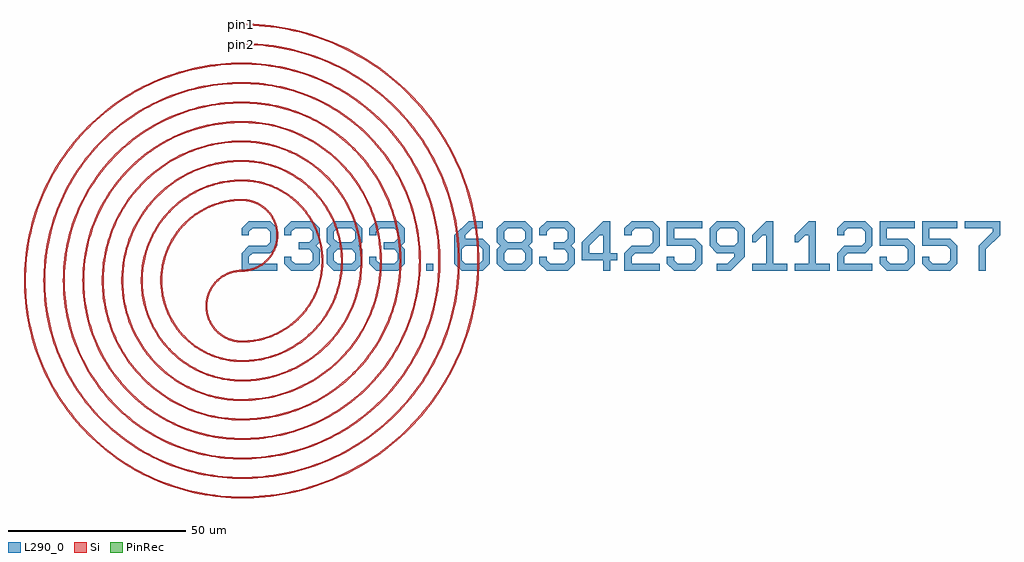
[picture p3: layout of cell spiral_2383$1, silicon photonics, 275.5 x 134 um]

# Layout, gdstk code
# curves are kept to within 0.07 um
import gdstk
lib = gdstk.Library(unit=1e-6, precision=1e-09)
def R(c, l, rs):  # rectangles x0, y0, x1, y1
    for r in rs: c.add(gdstk.rectangle(r[:2], r[2:], *l))
def P(c, l, *ps):  # polygons
    for p in ps: c.add(gdstk.Polygon(p, *l))
Si = (1, 0)
PinRec = (1, 10)
L290_0 = (290, 0)

spiral_2383_1 = lib.new_cell('spiral_2383$1')
P(spiral_2383_1, Si, [(0,-0.25),(0,0.25),(1.194,0.323),(2.369,0.542),(3.509,0.903),(4.384,1.291),(5.808,2.169),(7.061,3.277),(8.237,4.784),(9.097,6.491),(9.563,8.098),(9.75,10),(9.563,11.902),(9.097,13.509),(8.237,15.216),(7.061,16.723),(5.808,17.831),(4.384,18.709),(3.509,19.097),(2.369,19.458),(1.194,19.677),(0,19.75),(0,20.25),(1.005,20.201),(2,20.053),(2.975,19.809),(3.923,19.47),(5.695,18.523),(7.248,17.248),(8.523,15.695),(9.47,13.923),(9.809,12.975),(10.053,12),(10.201,11.005),(10.25,10),(10.201,8.995),(10.053,8),(9.809,7.025),(9.47,6.077),(8.523,4.305),(7.248,2.752),(5.695,1.477),(3.923,0.53),(2.975,0.191),(2,-0.053),(1.005,-0.201)],
  [(0,-20.25),(-1.005,-20.201),(-2,-20.053),(-3.923,-19.47),(-5.695,-18.523),(-7.248,-17.248),(-8.523,-15.695),(-9.47,-13.923),(-10.053,-12),(-10.201,-11.005),(-10.25,-10),(-10.201,-8.995),(-10.001,-7.754),(-9.371,-5.846),(-8.792,-4.73),(-8.233,-3.894),(-7.424,-2.932),(-6.695,-2.239),(-5.052,-1.082),(-4.154,-0.629),(-3.215,-0.267),(-1.504,0.139),(0.956,0.297),(2.136,0.487),(3.509,0.903),(4.806,1.517),(6.185,2.463),(7.537,3.815),(8.599,5.404),(9.258,6.942),(9.563,8.098),(9.724,9.283),(9.747,10.239),(9.644,11.431),(9.458,12.369),(9.097,13.509),(8.599,14.596),(7.971,15.614),(7.224,16.548),(6.548,17.224),(5.013,18.363),(3.951,18.914),(2.6,19.397),(1.194,19.677),(0,19.75),(0,20.25),(1.005,20.201),(2,20.053),(3.923,19.47),(5.695,18.523),(7.248,17.248),(8.523,15.695),(9.47,13.923),(10.053,12),(10.201,11.005),(10.25,10),(10.201,8.995),(10.001,7.754),(9.371,5.846),(8.792,4.73),(8.233,3.894),(7.424,2.932),(6.695,2.239),(5.052,1.082),(4.154,0.629),(3.215,0.267),(1.504,-0.139),(-0.956,-0.297),(-2.136,-0.487),(-3.509,-0.903),(-4.806,-1.517),(-6.185,-2.463),(-7.537,-3.815),(-8.599,-5.404),(-9.258,-6.942),(-9.563,-8.098),(-9.724,-9.283),(-9.747,-10.239),(-9.644,-11.431),(-9.458,-12.369),(-9.097,-13.509),(-8.599,-14.596),(-7.971,-15.614),(-7.224,-16.548),(-6.548,-17.224),(-5.013,-18.363),(-3.951,-18.914),(-2.6,-19.397),(-1.194,-19.677),(0,-19.75)],
  [(0,-20.25),(0,-19.75),(2.205,-19.642),(4.39,-19.318),(6.531,-18.781),(9.118,-17.82),(11.09,-16.827),(12.956,-15.646),(14.274,-14.643),(15.91,-13.16),(17.393,-11.524),(18.708,-9.75),(19.843,-7.856),(20.787,-5.86),(21.531,-3.781),(22.068,-1.64),(22.392,0.545),(22.5,2.75),(22.392,4.955),(22.068,7.14),(21.531,9.281),(20.787,11.36),(19.843,13.356),(18.708,15.25),(17.393,17.024),(15.91,18.66),(14.274,20.143),(12.956,21.146),(11.09,22.327),(9.118,23.32),(6.531,24.281),(4.39,24.818),(2.205,25.142),(0,25.25),(0,25.75),(2.254,25.639),(4.487,25.308),(6.677,24.76),(8.802,23.999),(10.842,23.034),(12.778,21.874),(14.591,20.529),(16.263,19.013),(17.779,17.341),(19.124,15.528),(20.284,13.592),(21.249,11.552),(22.01,9.427),(22.558,7.237),(22.889,5.004),(23,2.75),(22.889,0.496),(22.558,-1.737),(22.01,-3.927),(21.249,-6.052),(20.284,-8.092),(19.124,-10.028),(17.779,-11.841),(16.263,-13.513),(14.591,-15.029),(12.778,-16.374),(10.842,-17.534),(8.802,-18.499),(6.677,-19.26),(4.487,-19.808),(2.254,-20.139)],
  [(0,-25.75),(-2.254,-25.639),(-4.487,-25.308),(-6.677,-24.76),(-8.802,-23.999),(-10.842,-23.034),(-12.778,-21.874),(-14.591,-20.529),(-16.263,-19.013),(-17.779,-17.341),(-19.124,-15.528),(-20.284,-13.592),(-21.249,-11.552),(-22.01,-9.427),(-22.558,-7.237),(-22.889,-5.004),(-23,-2.75),(-22.889,-0.496),(-22.558,1.737),(-22.01,3.927),(-21.249,6.052),(-20.284,8.092),(-19.124,10.028),(-17.779,11.841),(-16.263,13.513),(-14.591,15.029),(-12.778,16.374),(-10.842,17.534),(-8.802,18.499),(-6.677,19.26),(-4.487,19.808),(-2.254,20.139),(0,20.25),(0,19.75),(-2.205,19.642),(-4.39,19.318),(-6.531,18.781),(-9.118,17.82),(-11.09,16.827),(-12.956,15.646),(-14.274,14.643),(-15.91,13.16),(-17.393,11.524),(-18.708,9.75),(-19.843,7.856),(-20.787,5.86),(-21.531,3.781),(-22.068,1.64),(-22.392,-0.545),(-22.5,-2.75),(-22.392,-4.955),(-22.068,-7.14),(-21.531,-9.281),(-20.787,-11.36),(-19.843,-13.356),(-18.708,-15.25),(-17.393,-17.024),(-15.91,-18.66),(-14.274,-20.143),(-12.956,-21.146),(-11.09,-22.327),(-9.118,-23.32),(-6.531,-24.281),(-4.39,-24.818),(-2.205,-25.142),(0,-25.25)],
  [(0,-25.75),(0,-25.25),(2.744,-25.115),(4.787,-24.838),(6.135,-24.57),(8.783,-23.837),(11.347,-22.848),(13.801,-21.612),(16.123,-20.142),(18.289,-18.452),(19.799,-17.049),(21.644,-15.013),(23.281,-12.806),(24.694,-10.449),(25.869,-7.965),(26.794,-5.378),(27.462,-2.713),(27.865,0.006),(28,2.75),(27.865,5.494),(27.462,8.213),(26.794,10.878),(25.869,13.465),(24.694,15.949),(23.281,18.306),(21.644,20.513),(19.799,22.549),(18.289,23.952),(16.123,25.642),(13.801,27.112),(11.347,28.348),(8.783,29.337),(6.135,30.07),(4.787,30.338),(2.744,30.615),(0,30.75),(0,31.25),(2.793,31.113),(5.56,30.702),(8.273,30.023),(10.906,29.081),(13.435,27.885),(15.834,26.447),(18.08,24.781),(20.153,22.903),(22.031,20.83),(23.697,18.584),(25.135,16.185),(26.331,13.656),(27.273,11.023),(27.952,8.31),(28.363,5.543),(28.5,2.75),(28.363,-0.043),(27.952,-2.81),(27.273,-5.523),(26.331,-8.156),(25.135,-10.685),(23.697,-13.084),(22.031,-15.33),(20.153,-17.403),(18.08,-19.281),(15.834,-20.947),(13.435,-22.385),(10.906,-23.581),(8.273,-24.523),(5.56,-25.202),(2.793,-25.613)],
  [(0,-31.25),(-2.793,-31.113),(-5.56,-30.702),(-8.273,-30.023),(-10.906,-29.081),(-13.435,-27.885),(-15.834,-26.447),(-18.08,-24.781),(-20.153,-22.903),(-22.031,-20.83),(-23.697,-18.584),(-25.135,-16.185),(-26.331,-13.656),(-27.273,-11.023),(-27.952,-8.31),(-28.363,-5.543),(-28.5,-2.75),(-28.363,0.043),(-27.952,2.81),(-27.273,5.523),(-26.331,8.156),(-25.135,10.685),(-23.697,13.084),(-22.031,15.33),(-20.153,17.403),(-18.08,19.281),(-15.834,20.947),(-13.435,22.385),(-10.906,23.581),(-8.273,24.523),(-5.56,25.202),(-2.793,25.613),(0,25.75),(0,25.25),(-2.744,25.115),(-4.787,24.838),(-6.135,24.57),(-8.783,23.837),(-11.347,22.848),(-13.801,21.612),(-16.123,20.142),(-18.289,18.452),(-19.799,17.049),(-21.644,15.013),(-23.281,12.806),(-24.694,10.449),(-25.869,7.965),(-26.794,5.378),(-27.462,2.713),(-27.865,-0.006),(-28,-2.75),(-27.865,-5.494),(-27.462,-8.213),(-26.794,-10.878),(-25.869,-13.465),(-24.694,-15.949),(-23.281,-18.306),(-21.644,-20.513),(-19.799,-22.549),(-18.289,-23.952),(-16.123,-25.642),(-13.801,-27.112),(-11.347,-28.348),(-8.783,-29.337),(-6.135,-30.07),(-4.787,-30.338),(-2.744,-30.615),(0,-30.75)],
  [(0,-31.25),(0,-30.75),(1.644,-30.71),(4.101,-30.498),(5.727,-30.257),(8.14,-29.746),(11.286,-28.792),(13.576,-27.876),(16.512,-26.398),(19.29,-24.639),(21.252,-23.146),(23.688,-20.938),(25.896,-18.502),(27.854,-15.862),(29.544,-13.042),(30.95,-10.07),(32.058,-6.975),(32.856,-3.786),(33.339,-0.534),(33.5,2.75),(33.339,6.034),(32.856,9.286),(32.058,12.475),(30.95,15.57),(29.544,18.542),(27.854,21.362),(25.896,24.002),(23.688,26.438),(21.252,28.646),(19.29,30.139),(16.512,31.898),(13.576,33.376),(11.286,34.292),(8.14,35.246),(5.727,35.757),(4.101,35.998),(1.644,36.21),(0,36.25),(0,36.75),(3.333,36.586),(6.633,36.097),(9.87,35.286),(13.011,34.162),(16.027,32.735),(18.889,31.02),(21.569,29.032),(24.042,26.792),(26.282,24.319),(28.27,21.639),(29.985,18.777),(31.412,15.761),(32.536,12.62),(33.347,9.383),(33.836,6.083),(34,2.75),(33.836,-0.583),(33.347,-3.883),(32.536,-7.12),(31.412,-10.261),(29.985,-13.277),(28.27,-16.139),(26.282,-18.819),(24.042,-21.292),(21.569,-23.532),(18.889,-25.52),(16.027,-27.235),(13.011,-28.662),(9.87,-29.786),(6.633,-30.597),(3.333,-31.086)],
  [(0,-36.75),(-3.333,-36.586),(-6.633,-36.097),(-9.87,-35.286),(-13.011,-34.162),(-16.027,-32.735),(-18.889,-31.02),(-21.569,-29.032),(-24.042,-26.792),(-26.282,-24.319),(-28.27,-21.639),(-29.985,-18.777),(-31.412,-15.761),(-32.536,-12.62),(-33.347,-9.383),(-33.836,-6.083),(-34,-2.75),(-33.836,0.583),(-33.347,3.883),(-32.536,7.12),(-31.412,10.261),(-29.985,13.277),(-28.27,16.139),(-26.282,18.819),(-24.042,21.292),(-21.569,23.532),(-18.889,25.52),(-16.027,27.235),(-13.011,28.662),(-9.87,29.786),(-6.633,30.597),(-3.333,31.086),(0,31.25),(0,30.75),(-1.644,30.71),(-4.101,30.498),(-5.727,30.257),(-8.14,29.746),(-11.286,28.792),(-13.576,27.876),(-16.512,26.398),(-19.29,24.639),(-21.252,23.146),(-23.688,20.938),(-25.896,18.502),(-27.854,15.862),(-29.544,13.042),(-30.95,10.07),(-32.058,6.975),(-32.856,3.786),(-33.339,0.534),(-33.5,-2.75),(-33.339,-6.034),(-32.856,-9.286),(-32.058,-12.475),(-30.95,-15.57),(-29.544,-18.542),(-27.854,-21.362),(-25.896,-24.002),(-23.688,-26.438),(-21.252,-28.646),(-19.29,-30.139),(-16.512,-31.898),(-13.576,-33.376),(-11.286,-34.292),(-8.14,-35.246),(-5.727,-35.757),(-4.101,-35.998),(-1.644,-36.21),(0,-36.25)],
  [(0,-36.75),(0,-36.25),(1.914,-36.203),(4.774,-35.957),(7.609,-35.501),(9.476,-35.081),(12.234,-34.282),(15.804,-32.904),(19.223,-31.183),(22.457,-29.136),(25.474,-26.781),(27.577,-24.827),(30.147,-21.991),(32.427,-18.917),(34.395,-15.634),(36.031,-12.175),(37.321,-8.571),(38.251,-4.859),(38.812,-1.073),(39,2.75),(38.812,6.573),(38.251,10.359),(37.321,14.071),(36.031,17.675),(34.395,21.134),(32.427,24.417),(30.147,27.491),(27.577,30.327),(25.474,32.281),(22.457,34.636),(19.223,36.683),(15.804,38.404),(12.234,39.782),(9.476,40.581),(7.609,41.001),(4.774,41.457),(1.914,41.703),(0,41.75),(0,42.25),(3.872,42.06),(7.706,41.491),(11.466,40.549),(15.116,39.243),(18.62,37.586),(21.945,35.593),(25.059,33.284),(27.931,30.681),(30.534,27.809),(32.843,24.695),(34.836,21.37),(36.493,17.866),(37.799,14.216),(38.741,10.456),(39.31,6.622),(39.5,2.75),(39.31,-1.122),(38.741,-4.956),(37.799,-8.716),(36.493,-12.366),(34.836,-15.87),(32.843,-19.195),(30.534,-22.309),(27.931,-25.181),(25.059,-27.784),(21.945,-30.093),(18.62,-32.086),(15.116,-33.743),(11.466,-35.049),(7.706,-35.991),(3.872,-36.56)],
  [(0,-42.25),(-3.872,-42.06),(-7.706,-41.491),(-11.466,-40.549),(-15.116,-39.243),(-18.62,-37.586),(-21.945,-35.593),(-25.059,-33.284),(-27.931,-30.681),(-30.534,-27.809),(-32.843,-24.695),(-34.836,-21.37),(-36.493,-17.866),(-37.799,-14.216),(-38.741,-10.456),(-39.31,-6.622),(-39.5,-2.75),(-39.31,1.122),(-38.741,4.956),(-37.799,8.716),(-36.493,12.366),(-34.836,15.87),(-32.843,19.195),(-30.534,22.309),(-27.931,25.181),(-25.059,27.784),(-21.945,30.093),(-18.62,32.086),(-15.116,33.743),(-11.466,35.049),(-7.706,35.991),(-3.872,36.56),(0,36.75),(0,36.25),(-1.914,36.203),(-4.774,35.957),(-7.609,35.501),(-9.476,35.081),(-12.234,34.282),(-15.804,32.904),(-19.223,31.183),(-22.457,29.136),(-25.474,26.781),(-27.577,24.827),(-30.147,21.991),(-32.427,18.917),(-34.395,15.634),(-36.031,12.175),(-37.321,8.571),(-38.251,4.859),(-38.812,1.073),(-39,-2.75),(-38.812,-6.573),(-38.251,-10.359),(-37.321,-14.071),(-36.031,-17.675),(-34.395,-21.134),(-32.427,-24.417),(-30.147,-27.491),(-27.577,-30.327),(-25.474,-32.281),(-22.457,-34.636),(-19.223,-36.683),(-15.804,-38.404),(-12.234,-39.782),(-9.476,-40.581),(-7.609,-41.001),(-4.774,-41.457),(-1.914,-41.703),(0,-41.75)],
  [(0,-42.25),(0,-41.75),(3.274,-41.629),(5.447,-41.415),(7.608,-41.095),(10.813,-40.416),(12.918,-39.834),(14.992,-39.149),(18.033,-37.932),(20.008,-36.998),(21.934,-35.969),(23.807,-34.846),(25.623,-33.633),(28.231,-31.649),(29.884,-30.222),(31.466,-28.716),(32.972,-27.134),(34.399,-25.481),(35.743,-23.759),(37,-21.973),(38.169,-20.128),(39.245,-18.227),(40.228,-16.276),(41.113,-14.279),(41.899,-12.242),(42.584,-10.168),(43.166,-8.063),(43.645,-5.932),(44.018,-3.78),(44.286,-1.612),(44.446,0.566),(44.5,2.75),(44.446,4.934),(44.286,7.112),(44.018,9.28),(43.645,11.432),(43.166,13.563),(42.584,15.668),(41.899,17.742),(41.113,19.779),(40.228,21.776),(39.245,23.727),(38.169,25.628),(37,27.473),(35.743,29.259),(34.399,30.981),(32.972,32.634),(31.466,34.216),(29.884,35.722),(28.231,37.149),(25.623,39.133),(23.807,40.346),(21.934,41.469),(20.008,42.498),(18.033,43.432),(14.992,44.649),(12.918,45.334),(10.813,45.916),(7.608,46.595),(5.447,46.915),(3.274,47.129),(0,47.25),(0,47.75),(2.208,47.696),(4.411,47.533),(6.603,47.263),(8.779,46.885),(10.934,46.401),(13.063,45.812),(15.16,45.119),(17.221,44.325),(19.24,43.43),(21.213,42.436),(23.135,41.348),(25.001,40.166),(26.806,38.894),(28.548,37.535),(30.22,36.093),(31.82,34.57),(33.343,32.97),(34.785,31.298),(36.144,29.556),(37.416,27.751),(38.598,25.885),(39.686,23.963),(40.68,21.99),(41.575,19.971),(42.369,17.91),(43.062,15.813),(43.651,13.684),(44.135,11.529),(44.513,9.353),(44.783,7.161),(44.946,4.958),(45,2.75),(44.946,0.542),(44.783,-1.661),(44.513,-3.853),(44.135,-6.029),(43.651,-8.184),(43.062,-10.313),(42.369,-12.41),(41.575,-14.471),(40.68,-16.49),(39.686,-18.463),(38.598,-20.385),(37.416,-22.251),(36.144,-24.056),(34.785,-25.798),(33.343,-27.47),(31.82,-29.07),(30.22,-30.593),(28.548,-32.035),(26.806,-33.394),(25.001,-34.666),(23.135,-35.848),(21.213,-36.936),(19.24,-37.93),(17.221,-38.825),(15.16,-39.619),(13.063,-40.312),(10.934,-40.901),(8.779,-41.385),(6.603,-41.763),(4.411,-42.033),(2.208,-42.196)],
  [(0,-47.75),(-2.208,-47.696),(-4.411,-47.533),(-6.603,-47.263),(-8.779,-46.885),(-10.934,-46.401),(-13.063,-45.812),(-15.16,-45.119),(-17.221,-44.325),(-19.24,-43.43),(-21.213,-42.436),(-23.135,-41.348),(-25.001,-40.166),(-26.806,-38.894),(-28.548,-37.535),(-30.22,-36.093),(-31.82,-34.57),(-33.343,-32.97),(-34.785,-31.298),(-36.144,-29.556),(-37.416,-27.751),(-38.598,-25.885),(-39.686,-23.963),(-40.68,-21.99),(-41.575,-19.971),(-42.369,-17.91),(-43.062,-15.813),(-43.651,-13.684),(-44.135,-11.529),(-44.513,-9.353),(-44.783,-7.161),(-44.946,-4.958),(-45,-2.75),(-44.946,-0.542),(-44.783,1.661),(-44.513,3.853),(-44.135,6.029),(-43.651,8.184),(-43.062,10.313),(-42.369,12.41),(-41.575,14.471),(-40.68,16.49),(-39.686,18.463),(-38.598,20.385),(-37.416,22.251),(-36.144,24.056),(-34.785,25.798),(-33.343,27.47),(-31.82,29.07),(-30.22,30.593),(-28.548,32.035),(-26.806,33.394),(-25.001,34.666),(-23.135,35.848),(-21.213,36.936),(-19.24,37.93),(-17.221,38.825),(-15.16,39.619),(-13.063,40.312),(-10.934,40.901),(-8.779,41.385),(-6.603,41.763),(-4.411,42.033),(-2.208,42.196),(0,42.25),(0,41.75),(-3.274,41.629),(-5.447,41.415),(-7.608,41.095),(-10.813,40.416),(-12.918,39.834),(-14.992,39.149),(-18.033,37.932),(-20.008,36.998),(-21.934,35.969),(-23.807,34.846),(-25.623,33.633),(-28.231,31.649),(-29.884,30.222),(-31.466,28.716),(-32.972,27.134),(-34.399,25.481),(-35.743,23.759),(-37,21.973),(-38.169,20.128),(-39.245,18.227),(-40.228,16.276),(-41.113,14.279),(-41.899,12.242),(-42.584,10.168),(-43.166,8.063),(-43.645,5.932),(-44.018,3.78),(-44.286,1.612),(-44.446,-0.566),(-44.5,-2.75),(-44.446,-4.934),(-44.286,-7.112),(-44.018,-9.28),(-43.645,-11.432),(-43.166,-13.563),(-42.584,-15.668),(-41.899,-17.742),(-41.113,-19.779),(-40.228,-21.776),(-39.245,-23.727),(-38.169,-25.628),(-37,-27.473),(-35.743,-29.259),(-34.399,-30.981),(-32.972,-32.634),(-31.466,-34.216),(-29.884,-35.722),(-28.231,-37.149),(-25.623,-39.133),(-23.807,-40.346),(-21.934,-41.469),(-20.008,-42.498),(-18.033,-43.432),(-14.992,-44.649),(-12.918,-45.334),(-10.813,-45.916),(-7.608,-46.595),(-5.447,-46.915),(-3.274,-47.129),(0,-47.25)],
  [(0,-47.75),(0,-47.25),(3.678,-47.115),(6.121,-46.874),(8.548,-46.514),(10.955,-46.035),(14.514,-45.097),(16.844,-44.327),(19.134,-43.444),(21.378,-42.449),(23.57,-41.346),(25.705,-40.136),(27.779,-38.823),(29.785,-37.41),(31.72,-35.901),(33.578,-34.298),(35.355,-32.605),(37.048,-30.828),(38.651,-28.97),(40.16,-27.035),(41.573,-25.029),(42.886,-22.955),(44.096,-20.82),(45.199,-18.628),(46.194,-16.384),(47.077,-14.094),(47.847,-11.764),(48.502,-9.399),(49.039,-7.005),(49.459,-4.587),(49.759,-2.151),(49.94,0.297),(50,2.75),(49.94,5.203),(49.759,7.651),(49.459,10.087),(49.039,12.505),(48.502,14.899),(47.847,17.264),(47.077,19.594),(46.194,21.884),(45.199,24.128),(44.096,26.32),(42.886,28.455),(41.573,30.529),(40.16,32.535),(38.651,34.47),(37.048,36.328),(35.355,38.105),(33.578,39.798),(31.72,41.401),(29.785,42.91),(27.779,44.323),(25.705,45.636),(23.57,46.846),(21.378,47.949),(19.134,48.944),(16.844,49.827),(14.514,50.597),(10.955,51.535),(8.548,52.014),(6.121,52.374),(3.678,52.615),(0,52.75),(0,53.25),(2.478,53.189),(4.95,53.007),(7.41,52.703),(9.852,52.28),(12.27,51.737),(14.659,51.075),(17.013,50.298),(19.326,49.406),(21.592,48.401),(23.806,47.287),(25.962,46.065),(28.056,44.739),(30.083,43.312),(32.037,41.787),(33.914,40.168),(35.709,38.459),(37.418,36.664),(39.037,34.787),(40.562,32.833),(41.989,30.806),(43.315,28.712),(44.537,26.556),(45.651,24.342),(46.656,22.076),(47.548,19.763),(48.325,17.409),(48.987,15.02),(49.53,12.602),(49.953,10.16),(50.257,7.7),(50.439,5.228),(50.5,2.75),(50.439,0.272),(50.257,-2.2),(49.953,-4.66),(49.53,-7.102),(48.987,-9.52),(48.325,-11.909),(47.548,-14.263),(46.656,-16.576),(45.651,-18.842),(44.537,-21.056),(43.315,-23.212),(41.989,-25.306),(40.562,-27.333),(39.037,-29.287),(37.418,-31.164),(35.709,-32.959),(33.914,-34.668),(32.037,-36.287),(30.083,-37.812),(28.056,-39.239),(25.962,-40.565),(23.806,-41.787),(21.592,-42.901),(19.326,-43.906),(17.013,-44.798),(14.659,-45.575),(12.27,-46.237),(9.852,-46.78),(7.41,-47.203),(4.95,-47.507),(2.478,-47.689)],
  [(0,-53.25),(-2.478,-53.189),(-4.95,-53.007),(-7.41,-52.703),(-9.852,-52.28),(-12.27,-51.737),(-14.659,-51.075),(-17.013,-50.298),(-19.326,-49.406),(-21.592,-48.401),(-23.806,-47.287),(-25.962,-46.065),(-28.056,-44.739),(-30.083,-43.312),(-32.037,-41.787),(-33.914,-40.168),(-35.709,-38.459),(-37.418,-36.664),(-39.037,-34.787),(-40.562,-32.833),(-41.989,-30.806),(-43.315,-28.712),(-44.537,-26.556),(-45.651,-24.342),(-46.656,-22.076),(-47.548,-19.763),(-48.325,-17.409),(-48.987,-15.02),(-49.53,-12.602),(-49.953,-10.16),(-50.257,-7.7),(-50.439,-5.228),(-50.5,-2.75),(-50.439,-0.272),(-50.257,2.2),(-49.953,4.66),(-49.53,7.102),(-48.987,9.52),(-48.325,11.909),(-47.548,14.263),(-46.656,16.576),(-45.651,18.842),(-44.537,21.056),(-43.315,23.212),(-41.989,25.306),(-40.562,27.333),(-39.037,29.287),(-37.418,31.164),(-35.709,32.959),(-33.914,34.668),(-32.037,36.287),(-30.083,37.812),(-28.056,39.239),(-25.962,40.565),(-23.806,41.787),(-21.592,42.901),(-19.326,43.906),(-17.013,44.798),(-14.659,45.575),(-12.27,46.237),(-9.852,46.78),(-7.41,47.203),(-4.95,47.507),(-2.478,47.689),(0,47.75),(0,47.25),(-3.678,47.115),(-6.121,46.874),(-8.548,46.514),(-10.955,46.035),(-14.514,45.097),(-16.844,44.327),(-19.134,43.444),(-21.378,42.449),(-23.57,41.346),(-25.705,40.136),(-27.779,38.823),(-29.785,37.41),(-31.72,35.901),(-33.578,34.298),(-35.355,32.605),(-37.048,30.828),(-38.651,28.97),(-40.16,27.035),(-41.573,25.029),(-42.886,22.955),(-44.096,20.82),(-45.199,18.628),(-46.194,16.384),(-47.077,14.094),(-47.847,11.764),(-48.502,9.399),(-49.039,7.005),(-49.459,4.587),(-49.759,2.151),(-49.94,-0.297),(-50,-2.75),(-49.94,-5.203),(-49.759,-7.651),(-49.459,-10.087),(-49.039,-12.505),(-48.502,-14.899),(-47.847,-17.264),(-47.077,-19.594),(-46.194,-21.884),(-45.199,-24.128),(-44.096,-26.32),(-42.886,-28.455),(-41.573,-30.529),(-40.16,-32.535),(-38.651,-34.47),(-37.048,-36.328),(-35.355,-38.105),(-33.578,-39.798),(-31.72,-41.401),(-29.785,-42.91),(-27.779,-44.323),(-25.705,-45.636),(-23.57,-46.846),(-21.378,-47.949),(-19.134,-48.944),(-16.844,-49.827),(-14.514,-50.597),(-10.955,-51.535),(-8.548,-52.014),(-6.121,-52.374),(-3.678,-52.615),(0,-52.75)],
  [(0,-53.25),(0,-52.75),(4.083,-52.6),(6.794,-52.333),(9.488,-51.933),(12.16,-51.401),(14.803,-50.74),(17.409,-49.949),(21.239,-48.525),(23.729,-47.421),(26.163,-46.197),(28.533,-44.854),(30.834,-43.397),(33.061,-41.828),(35.209,-40.152),(37.272,-38.373),(39.244,-36.494),(41.123,-34.522),(42.902,-32.459),(44.578,-30.311),(46.147,-28.084),(47.604,-25.783),(48.947,-23.413),(50.171,-20.979),(51.275,-18.489),(52.256,-15.947),(53.11,-13.361),(53.837,-10.735),(54.434,-8.078),(54.899,-5.394),(55.233,-2.69),(55.433,0.027),(55.5,2.75),(55.433,5.473),(55.233,8.19),(54.899,10.894),(54.434,13.578),(53.837,16.235),(53.11,18.861),(52.256,21.447),(51.275,23.989),(50.171,26.479),(48.947,28.913),(47.604,31.283),(46.147,33.584),(44.578,35.811),(42.902,37.959),(41.123,40.022),(39.244,41.994),(37.272,43.873),(35.209,45.652),(33.061,47.328),(30.834,48.897),(28.533,50.354),(26.163,51.697),(23.729,52.921),(21.239,54.025),(17.409,55.449),(14.803,56.24),(12.16,56.901),(9.488,57.433),(6.794,57.833),(4.083,58.1),(0,58.25),(0,58.75),(2.748,58.683),(5.489,58.48),(8.217,58.144),(10.925,57.674),(13.607,57.072),(16.256,56.339),(18.866,55.476),(21.43,54.487),(23.943,53.373),(26.398,52.138),(28.79,50.783),(31.112,49.312),(33.359,47.73),(35.526,46.039),(37.607,44.243),(39.598,42.348),(41.493,40.357),(43.289,38.276),(44.98,36.109),(46.562,33.862),(48.033,31.54),(49.388,29.148),(50.623,26.693),(51.737,24.18),(52.726,21.616),(53.589,19.006),(54.322,16.357),(54.924,13.675),(55.394,10.967),(55.73,8.239),(55.933,5.498),(56,2.75),(55.933,0.002),(55.73,-2.739),(55.394,-5.467),(54.924,-8.175),(54.322,-10.857),(53.589,-13.506),(52.726,-16.116),(51.737,-18.68),(50.623,-21.193),(49.388,-23.648),(48.033,-26.04),(46.562,-28.362),(44.98,-30.609),(43.289,-32.776),(41.493,-34.857),(39.598,-36.848),(37.607,-38.743),(35.526,-40.539),(33.359,-42.23),(31.112,-43.812),(28.79,-45.283),(26.398,-46.638),(23.943,-47.873),(21.43,-48.987),(18.866,-49.976),(16.256,-50.839),(13.607,-51.572),(10.925,-52.174),(8.217,-52.644),(5.489,-52.98),(2.748,-53.183)],
  [(0,-58.75),(-2.748,-58.683),(-5.489,-58.48),(-8.217,-58.144),(-10.925,-57.674),(-13.607,-57.072),(-16.256,-56.339),(-18.866,-55.476),(-21.43,-54.487),(-23.943,-53.373),(-26.398,-52.138),(-28.79,-50.783),(-31.112,-49.312),(-33.359,-47.73),(-35.526,-46.039),(-37.607,-44.243),(-39.598,-42.348),(-41.493,-40.357),(-43.289,-38.276),(-44.98,-36.109),(-46.562,-33.862),(-48.033,-31.54),(-49.388,-29.148),(-50.623,-26.693),(-51.737,-24.18),(-52.726,-21.616),(-53.589,-19.006),(-54.322,-16.357),(-54.924,-13.675),(-55.394,-10.967),(-55.73,-8.239),(-55.933,-5.498),(-56,-2.75),(-55.933,-0.002),(-55.73,2.739),(-55.394,5.467),(-54.924,8.175),(-54.322,10.857),(-53.589,13.506),(-52.726,16.116),(-51.737,18.68),(-50.623,21.193),(-49.388,23.648),(-48.033,26.04),(-46.562,28.362),(-44.98,30.609),(-43.289,32.776),(-41.493,34.857),(-39.598,36.848),(-37.607,38.743),(-35.526,40.539),(-33.359,42.23),(-31.112,43.812),(-28.79,45.283),(-26.398,46.638),(-23.943,47.873),(-21.43,48.987),(-18.866,49.976),(-16.256,50.839),(-13.607,51.572),(-10.925,52.174),(-8.217,52.644),(-5.489,52.98),(-2.748,53.183),(0,53.25),(0,52.75),(-4.083,52.6),(-6.794,52.333),(-9.488,51.933),(-12.16,51.401),(-14.803,50.74),(-17.409,49.949),(-21.239,48.525),(-23.729,47.421),(-26.163,46.197),(-28.533,44.854),(-30.834,43.397),(-33.061,41.828),(-35.209,40.152),(-37.272,38.373),(-39.244,36.494),(-41.123,34.522),(-42.902,32.459),(-44.578,30.311),(-46.147,28.084),(-47.604,25.783),(-48.947,23.413),(-50.171,20.979),(-51.275,18.489),(-52.256,15.947),(-53.11,13.361),(-53.837,10.735),(-54.434,8.078),(-54.899,5.394),(-55.233,2.69),(-55.433,-0.027),(-55.5,-2.75),(-55.433,-5.473),(-55.233,-8.19),(-54.899,-10.894),(-54.434,-13.578),(-53.837,-16.235),(-53.11,-18.861),(-52.256,-21.447),(-51.275,-23.989),(-50.171,-26.479),(-48.947,-28.913),(-47.604,-31.283),(-46.147,-33.584),(-44.578,-35.811),(-42.902,-37.959),(-41.123,-40.022),(-39.244,-41.994),(-37.272,-43.873),(-35.209,-45.652),(-33.061,-47.328),(-30.834,-48.897),(-28.533,-50.354),(-26.163,-51.697),(-23.729,-52.921),(-21.239,-54.025),(-17.409,-55.449),(-14.803,-56.24),(-12.16,-56.901),(-9.488,-57.433),(-6.794,-57.833),(-4.083,-58.1),(0,-58.25)],
  [(0,-58.75),(0,-58.25),(2.993,-58.177),(5.979,-57.956),(8.951,-57.59),(13.365,-56.768),(16.269,-56.04),(19.135,-55.171),(23.344,-53.607),(26.081,-52.393),(28.755,-51.047),(31.36,-49.571),(33.89,-47.97),(36.338,-46.246),(38.698,-44.404),(40.965,-42.448),(43.134,-40.384),(45.198,-38.215),(47.154,-35.948),(48.996,-33.588),(50.72,-31.14),(52.321,-28.61),(53.797,-26.005),(55.143,-23.331),(56.357,-20.594),(57.434,-17.8),(58.373,-14.957),(59.172,-12.072),(59.828,-9.151),(60.34,-6.201),(60.706,-3.229),(60.927,-0.243),(61,2.75),(60.927,5.743),(60.706,8.729),(60.34,11.701),(59.828,14.651),(59.172,17.572),(58.373,20.457),(57.434,23.3),(56.357,26.094),(55.143,28.831),(53.797,31.505),(52.321,34.11),(50.72,36.64),(48.996,39.088),(47.154,41.448),(45.198,43.715),(43.134,45.884),(40.965,47.948),(38.698,49.904),(36.338,51.746),(33.89,53.47),(31.36,55.071),(28.755,56.547),(26.081,57.893),(23.344,59.107),(19.135,60.671),(16.269,61.54),(13.365,62.268),(8.951,63.09),(5.979,63.456),(2.993,63.677),(0,63.75),(0,64.25),(3.018,64.176),(6.028,63.954),(9.024,63.584),(11.998,63.068),(14.943,62.407),(17.853,61.602),(20.719,60.655),(23.535,59.569),(26.295,58.345),(28.991,56.988),(31.617,55.5),(34.168,53.885),(36.636,52.147),(39.015,50.29),(41.301,48.318),(43.487,46.237),(45.568,44.051),(47.54,41.765),(49.397,39.386),(51.135,36.918),(52.75,34.367),(54.238,31.741),(55.595,29.045),(56.819,26.285),(57.905,23.469),(58.852,20.603),(59.657,17.693),(60.318,14.748),(60.834,11.774),(61.204,8.778),(61.426,5.768),(61.5,2.75),(61.426,-0.268),(61.204,-3.278),(60.834,-6.274),(60.318,-9.248),(59.657,-12.193),(58.852,-15.103),(57.905,-17.969),(56.819,-20.785),(55.595,-23.545),(54.238,-26.241),(52.75,-28.867),(51.135,-31.418),(49.397,-33.886),(47.54,-36.265),(45.568,-38.551),(43.487,-40.737),(41.301,-42.818),(39.015,-44.79),(36.636,-46.647),(34.168,-48.385),(31.617,-50),(28.991,-51.488),(26.295,-52.845),(23.535,-54.069),(20.719,-55.155),(17.853,-56.102),(14.943,-56.907),(11.998,-57.568),(9.024,-58.084),(6.028,-58.454),(3.018,-58.676)],
  [(0,-64.25),(-3.018,-64.176),(-6.028,-63.954),(-9.024,-63.584),(-11.998,-63.068),(-14.943,-62.407),(-17.853,-61.602),(-20.719,-60.655),(-23.535,-59.569),(-26.295,-58.345),(-28.991,-56.988),(-31.617,-55.5),(-34.168,-53.885),(-36.636,-52.147),(-39.015,-50.29),(-41.301,-48.318),(-43.487,-46.237),(-45.568,-44.051),(-47.54,-41.765),(-49.397,-39.386),(-51.135,-36.918),(-52.75,-34.367),(-54.238,-31.741),(-55.595,-29.045),(-56.819,-26.285),(-57.905,-23.469),(-58.852,-20.603),(-59.657,-17.693),(-60.318,-14.748),(-60.834,-11.774),(-61.204,-8.778),(-61.426,-5.768),(-61.5,-2.75),(-61.426,0.268),(-61.204,3.278),(-60.834,6.274),(-60.318,9.248),(-59.657,12.193),(-58.852,15.103),(-57.905,17.969),(-56.819,20.785),(-55.595,23.545),(-54.238,26.241),(-52.75,28.867),(-51.135,31.418),(-49.397,33.886),(-47.54,36.265),(-45.568,38.551),(-43.487,40.737),(-41.301,42.818),(-39.015,44.79),(-36.636,46.647),(-34.168,48.385),(-31.617,50),(-28.991,51.488),(-26.295,52.845),(-23.535,54.069),(-20.719,55.155),(-17.853,56.102),(-14.943,56.907),(-11.998,57.568),(-9.024,58.084),(-6.028,58.454),(-3.018,58.676),(0,58.75),(0,58.25),(-2.993,58.177),(-5.979,57.956),(-8.951,57.59),(-13.365,56.768),(-16.269,56.04),(-19.135,55.171),(-23.344,53.607),(-26.081,52.393),(-28.755,51.047),(-31.36,49.571),(-33.89,47.97),(-36.338,46.246),(-38.698,44.404),(-40.965,42.448),(-43.134,40.384),(-45.198,38.215),(-47.154,35.948),(-48.996,33.588),(-50.72,31.14),(-52.321,28.61),(-53.797,26.005),(-55.143,23.331),(-56.357,20.594),(-57.434,17.8),(-58.373,14.957),(-59.172,12.072),(-59.828,9.151),(-60.34,6.201),(-60.706,3.229),(-60.927,0.243),(-61,-2.75),(-60.927,-5.743),(-60.706,-8.729),(-60.34,-11.701),(-59.828,-14.651),(-59.172,-17.572),(-58.373,-20.457),(-57.434,-23.3),(-56.357,-26.094),(-55.143,-28.831),(-53.797,-31.505),(-52.321,-34.11),(-50.72,-36.64),(-48.996,-39.088),(-47.154,-41.448),(-45.198,-43.715),(-43.134,-45.884),(-40.965,-47.948),(-38.698,-49.904),(-36.338,-51.746),(-33.89,-53.47),(-31.36,-55.071),(-28.755,-56.547),(-26.081,-57.893),(-23.344,-59.107),(-19.135,-60.671),(-16.269,-61.54),(-13.365,-62.268),(-8.951,-63.09),(-5.979,-63.456),(-2.993,-63.677),(0,-63.75)],
  [(0,-64.25),(0,-63.75),(3.263,-63.67),(6.518,-63.43),(11.369,-62.771),(14.57,-62.134),(19.304,-60.887),(22.403,-59.863),(25.448,-58.688),(28.432,-57.365),(31.348,-55.898),(34.188,-54.289),(36.945,-52.543),(39.614,-50.663),(42.187,-48.655),(44.659,-46.523),(47.023,-44.273),(49.273,-41.909),(51.405,-39.437),(53.413,-36.864),(55.293,-34.195),(57.039,-31.438),(58.648,-28.598),(60.115,-25.682),(61.438,-22.698),(62.613,-19.653),(63.637,-16.554),(64.507,-13.408),(65.222,-10.224),(65.78,-7.008),(66.18,-3.768),(66.42,-0.513),(66.5,2.75),(66.42,6.013),(66.18,9.268),(65.78,12.508),(65.222,15.724),(64.507,18.908),(63.637,22.054),(62.613,25.153),(61.438,28.198),(60.115,31.182),(58.648,34.098),(57.039,36.938),(55.293,39.695),(53.413,42.364),(51.405,44.937),(49.273,47.409),(47.023,49.773),(44.659,52.023),(42.187,54.155),(39.614,56.163),(36.945,58.043),(34.188,59.789),(31.348,61.398),(28.432,62.865),(25.448,64.188),(22.403,65.363),(19.304,66.387),(14.57,67.634),(11.369,68.271),(6.518,68.93),(3.263,69.17),(0,69.25),(0,69.75),(3.288,69.669),(6.567,69.427),(9.831,69.025),(13.071,68.463),(16.28,67.742),(19.449,66.865),(22.572,65.833),(25.64,64.65),(28.646,63.317),(31.584,61.839),(34.445,60.218),(37.223,58.458),(39.912,56.565),(42.504,54.542),(44.994,52.394),(47.376,50.126),(49.644,47.744),(51.792,45.254),(53.815,42.662),(55.708,39.973),(57.468,37.195),(59.089,34.334),(60.567,31.396),(61.9,28.39),(63.083,25.322),(64.115,22.199),(64.992,19.03),(65.713,15.821),(66.275,12.581),(66.677,9.317),(66.919,6.038),(67,2.75),(66.919,-0.538),(66.677,-3.817),(66.275,-7.081),(65.713,-10.321),(64.992,-13.53),(64.115,-16.699),(63.083,-19.822),(61.9,-22.89),(60.567,-25.896),(59.089,-28.834),(57.468,-31.695),(55.708,-34.473),(53.815,-37.162),(51.792,-39.754),(49.644,-42.244),(47.376,-44.626),(44.994,-46.894),(42.504,-49.042),(39.912,-51.065),(37.223,-52.958),(34.445,-54.718),(31.584,-56.339),(28.646,-57.817),(25.64,-59.15),(22.572,-60.333),(19.449,-61.365),(16.28,-62.242),(13.071,-62.963),(9.831,-63.525),(6.567,-63.927),(3.288,-64.169)])
R(spiral_2383_1, L290_0, [(52,0,54,2)])
P(spiral_2383_1, L290_0, [(0,0),(0,5),(2,7),(7,7),(8,8),(8,11),(7,12),(3,12),(2,11),(2,10),(0,10),(0,12),(2,14),(8,14),(10,12),(10,7),(8,5),(3,5),(2,4),(2,2),(10,2),(10,0)],
  [(14,0),(12,2),(12,4),(14,4),(14,3),(15,2),(19,2),(20,3),(20,5),(19,6),(16,6),(16,8),(19,8),(20,9),(20,11),(19,12),(15,12),(14,11),(14,10),(12,10),(12,12),(14,14),(20,14),(22,12),(22,8),(21,7),(22,6),(22,2),(20,0)],
  [(26,0),(24,2),(24,6),(25,7),(24,8),(24,12),(26,14),(32,14),(34,12),(27,12),(26,11),(26,9),(27,8),(31,8),(32,9),(32,11),(31,12),(34,12),(34,8),(33,7),(34,6),(27,6),(26,5),(26,3),(27,2),(31,2),(32,3),(32,5),(31,6),(34,6),(34,2),(32,0)],
  [(38,0),(36,2),(36,4),(38,4),(38,3),(39,2),(43,2),(44,3),(44,5),(43,6),(40,6),(40,8),(43,8),(44,9),(44,11),(43,12),(39,12),(38,11),(38,10),(36,10),(36,12),(38,14),(44,14),(46,12),(46,8),(45,7),(46,6),(46,2),(44,0)],
  [(62,0),(60,2),(60,10),(64,14),(68,14),(68,12),(65,12),(63,10),(63,9),(68,9),(70,7),(63,7),(62,6),(62,3),(63,2),(67,2),(68,3),(68,6),(67,7),(70,7),(70,2),(68,0)],
  [(74,0),(72,2),(72,6),(73,7),(72,8),(72,12),(74,14),(80,14),(82,12),(75,12),(74,11),(74,9),(75,8),(79,8),(80,9),(80,11),(79,12),(82,12),(82,8),(81,7),(82,6),(75,6),(74,5),(74,3),(75,2),(79,2),(80,3),(80,5),(79,6),(82,6),(82,2),(80,0)],
  [(86,0),(84,2),(84,4),(86,4),(86,3),(87,2),(91,2),(92,3),(92,5),(91,6),(88,6),(88,8),(91,8),(92,9),(92,11),(91,12),(87,12),(86,11),(86,10),(84,10),(84,12),(86,14),(92,14),(94,12),(94,8),(93,7),(94,6),(94,2),(92,0)],
  [(102,0),(102,3),(96,3),(96,5),(102,5),(102,10),(101,10),(98,7),(98,5),(96,5),(96,8),(102,14),(104,14),(104,5),(106,5),(106,3),(104,3),(104,0)],
  [(108,0),(108,5),(110,7),(115,7),(116,8),(116,11),(115,12),(111,12),(110,11),(110,10),(108,10),(108,12),(110,14),(116,14),(118,12),(118,7),(116,5),(111,5),(110,4),(110,2),(118,2),(118,0)],
  [(122,0),(120,2),(120,4),(122,4),(122,3),(123,2),(127,2),(128,3),(128,6),(127,7),(120,7),(120,14),(130,14),(130,12),(122,12),(122,9),(128,9),(130,7),(130,2),(128,0)],
  [(134,0),(134,2),(137,2),(139,4),(139,5),(134,5),(132,7),(139,7),(140,8),(140,11),(139,12),(135,12),(134,11),(134,8),(135,7),(132,7),(132,12),(134,14),(140,14),(142,12),(142,4),(138,0)],
  [(144,0),(144,2),(148,2),(148,10),(147,10),(145,8),(144,8),(144,10),(148,14),(150,14),(150,2),(154,2),(154,0)],
  [(156,0),(156,2),(160,2),(160,10),(159,10),(157,8),(156,8),(156,10),(160,14),(162,14),(162,2),(166,2),(166,0)],
  [(168,0),(168,5),(170,7),(175,7),(176,8),(176,11),(175,12),(171,12),(170,11),(170,10),(168,10),(168,12),(170,14),(176,14),(178,12),(178,7),(176,5),(171,5),(170,4),(170,2),(178,2),(178,0)],
  [(182,0),(180,2),(180,4),(182,4),(182,3),(183,2),(187,2),(188,3),(188,6),(187,7),(180,7),(180,14),(190,14),(190,12),(182,12),(182,9),(188,9),(190,7),(190,2),(188,0)],
  [(194,0),(192,2),(192,4),(194,4),(194,3),(195,2),(199,2),(200,3),(200,6),(199,7),(192,7),(192,14),(202,14),(202,12),(194,12),(194,9),(200,9),(202,7),(202,2),(200,0)],
  [(208,0),(208,7),(212,11),(212,12),(204,12),(204,14),(214,14),(214,10),(210,6),(210,0)])
spiral_2383_1.add(gdstk.FlexPath([(0.05,69.5),(-0.05,69.5)], 0.5, ends="flush", simple_path=True, layer=1, datatype=10))  # PinRec
spiral_2383_1.add(gdstk.FlexPath([(0.05,64),(-0.05,64)], 0.5, ends="flush", simple_path=True, layer=1, datatype=10))  # PinRec
spiral_2383_1.add(gdstk.Label('pin1', (0,69.5), layer=1, texttype=10))
spiral_2383_1.add(gdstk.Label('pin2', (0,64), layer=1, texttype=10))

lib.write_gds('spiral_2383_1.gds')
